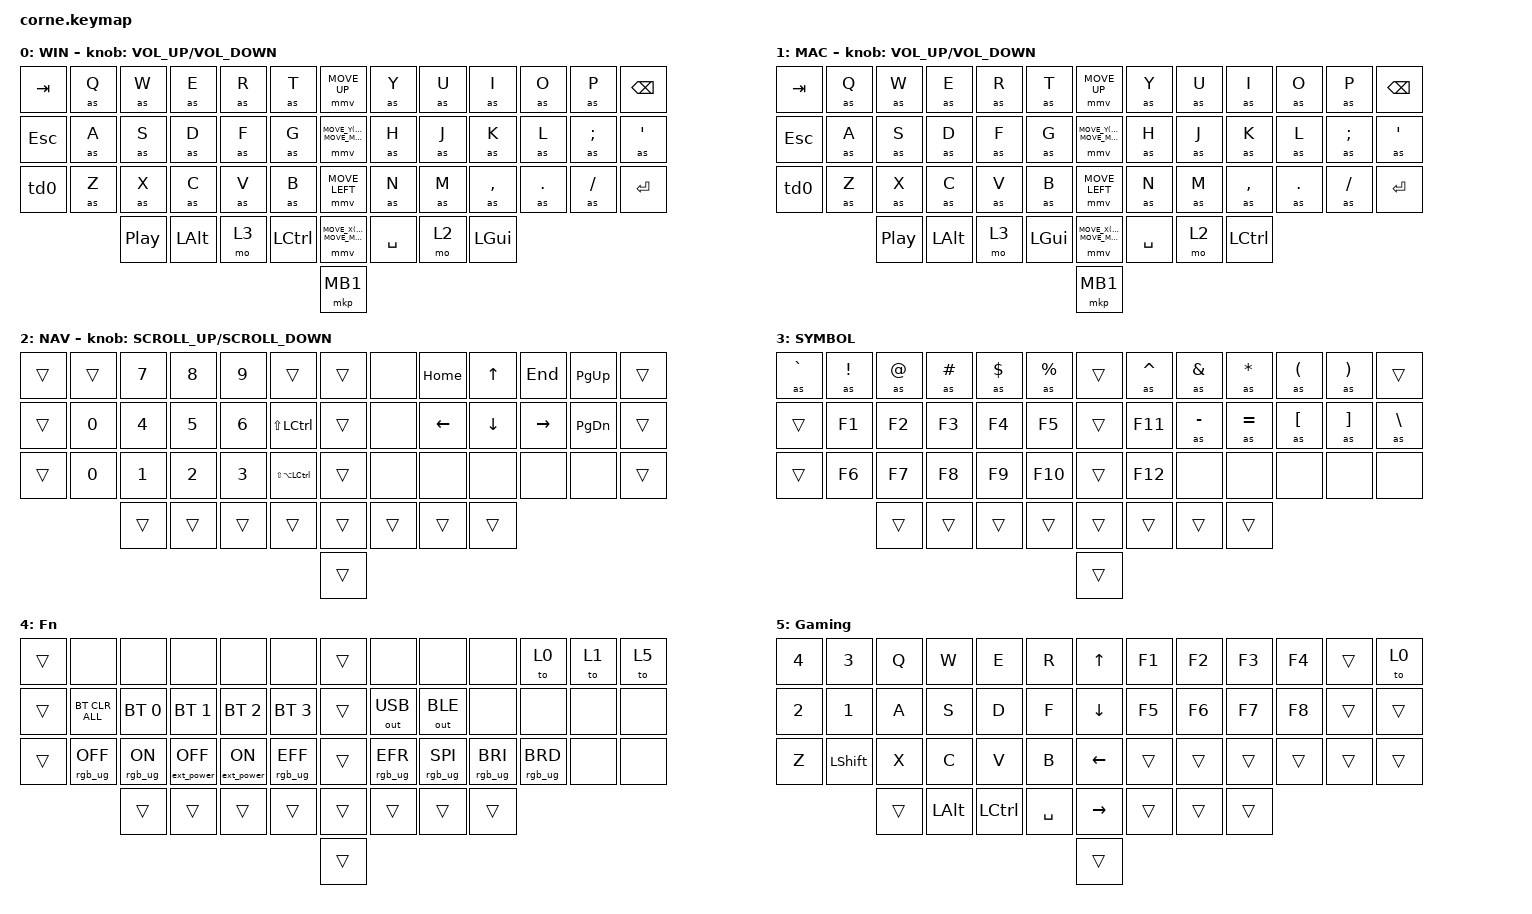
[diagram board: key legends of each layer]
#include <behaviors/mouse_keys.dtsi>
#include <behaviors.dtsi>
#include <dt-bindings/zmk/bt.h>
#include <dt-bindings/zmk/ext_power.h>
#include <dt-bindings/zmk/keys.h>
#include <dt-bindings/zmk/mouse.h>
#include <dt-bindings/zmk/outputs.h>
#include <dt-bindings/zmk/rgb.h>

#define U_MOUSE_MOVE_MAX 1400

#undef MOVE_UP
#undef MOVE_DOWN
#undef MOVE_LEFT
#undef MOVE_RIGHT

#define MOVE_UP MOVE_Y(-U_MOUSE_MOVE_MAX)
#define MOVE_DOWN MOVE_Y(U_MOUSE_MOVE_MAX)
#define MOVE_LEFT MOVE_X(-U_MOUSE_MOVE_MAX)
#define MOVE_RIGHT MOVE_X(U_MOUSE_MOVE_MAX)

&mmv {
    acceleration-exponent = <1>;
    time-to-max-speed-ms = <400>;
};

/ {
    behaviors {
        td0: td0 {
            compatible = "zmk,behavior-tap-dance";
            #binding-cells = <0>;
            bindings = <&kp LEFT_SHIFT>, <&kp CAPS>;
        };

        as_ht: autoshift_hold_tap {
            compatible = "zmk,behavior-hold-tap";
            label = "AUTOSHIFT_HOLD_TAP";
            bindings = <&shift>, <&kp>;

            #binding-cells = <2>;
            tapping-term-ms = <150>;
            flavor = "tap-preferred";
        };
    };

    combos {
        compatible = "zmk,combos";

        delete {
            bindings = <&kp DEL>;
            key-positions = <11 12>;
        };

        Gaming_Esc {
            bindings = <&kp ESC>;
            key-positions = <0 1>;
        };

        Gaming_Tab {
            bindings = <&kp TAB>;
            key-positions = <13 14>;
            layers = <5>;
        };

        Gaming_G {
            bindings = <&kp G>;
            key-positions = <41 42>;
            layers = <5>;
        };
    };

    macros {
        shift: with_lshift {
            compatible = "zmk,behavior-macro-one-param";
            #binding-cells = <1>;
            bindings =
                <&macro_press>,
                <&kp LSHIFT>,
                <&macro_tap>,
                <&macro_param_1to1 &kp MACRO_PLACEHOLDER>,
                <&macro_release>,
                <&kp LEFT_SHIFT>;

            label = "KEY_PRESS_WITH_LEFT_SHIFT_MODIFIER";
        };

        as: as {
            compatible = "zmk,behavior-macro-one-param";
            #binding-cells = <1>;
            bindings =
                <&macro_press>,
                <&macro_param_1to1 &macro_param_1to2 &as_ht MACRO_PLACEHOLDER MACRO_PLACEHOLDER>,
                <&macro_pause_for_release>,
                <&macro_release>,
                <&macro_param_1to1 &macro_param_1to2 &as_ht MACRO_PLACEHOLDER MACRO_PLACEHOLDER>;

            label = "AS";
        };
    };

    keymap {
        compatible = "zmk,keymap";

        WIN {
            display-name = "WIN";

            // --------------------------------------------------------------------------------
            // |  TAB |  Q  |  W  |  E  |  R  |  T  |   |  Y  |  U  |  I  |  O  |  P  | BKSP |
            // | ESC  |  A  |  S  |  D  |  F  |  G  |   |  H  |  J  |  K  |  L  |  ;  |  '   |
            // | TD0  |  Z  |  X  |  C  |  V  |  B  |   |  N  |  M  |  ,  |  .  |  /  | ENT  |
            //                    | C_PLAY_PAUSE | LGUI | MO(2) | LT(3, LCTRL) | LT(4, SPACE) | MO(1) | RALT |
            //                    | MB1 |

            bindings = <
&kp TAB  &as Q  &as W             &as E         &as R  &as T        &mmv MOVE_UP     &as Y      &as U  &as I         &as O    &as P     &kp BSPC
&kp ESC  &as A  &as S             &as D         &as F  &as G        &mmv MOVE_DOWN   &as H      &as J  &as K         &as L    &as SEMI  &as SQT
&td0     &as Z  &as X             &as C         &as V  &as B        &mmv MOVE_LEFT   &as N      &as M  &as COMMA     &as DOT  &as FSLH  &kp ENTER
                &kp C_PLAY_PAUSE  &kp LEFT_ALT  &mo 3  &kp LCTRL    &mmv MOVE_RIGHT  &kp SPACE  &mo 2  &kp LEFT_GUI
                                                                    &mkp MB1
            >;

            sensor-bindings = <&inc_dec_kp C_VOLUME_UP C_VOLUME_DOWN>;
        };

        MAC {
            display-name = "MAC";
            bindings = <
&kp TAB  &as Q  &as W             &as E         &as R  &as T           &mmv MOVE_UP     &as Y      &as U  &as I      &as O    &as P     &kp BSPC
&kp ESC  &as A  &as S             &as D         &as F  &as G           &mmv MOVE_DOWN   &as H      &as J  &as K      &as L    &as SEMI  &as SQT
&td0     &as Z  &as X             &as C         &as V  &as B           &mmv MOVE_LEFT   &as N      &as M  &as COMMA  &as DOT  &as FSLH  &kp ENTER
                &kp C_PLAY_PAUSE  &kp LEFT_ALT  &mo 3  &kp LEFT_GUI    &mmv MOVE_RIGHT  &kp SPACE  &mo 2  &kp LCTRL
                                                                       &mkp MB1
            >;

            sensor-bindings = <&inc_dec_kp C_VOLUME_UP C_VOLUME_DOWN>;
            label = "MAC";
        };

        Navigation {
            display-name = "NAV";

            // -----------------------------------------------------------------------------------------
            // | TRANS | TRANS | KP_7 | KP_8 | KP_9 | TRANS |   | TRANS | NONE | HOME | UP   | END  | K_SCROLL_UP |
            // | TRANS | KP_0  | KP_4 | KP_5 | KP_6 | LS(C) |   | TRANS | NONE | LEFT | DOWN | RGHT | K_SCROLL_DN |
            // | TRANS | KP_0  | KP_1 | KP_2 | KP_3 | LS(LC) |   | TRANS | NONE | NONE | NONE | NONE | NONE        |
            //                    | TRANS | TRANS | MO(3) | TRANS | TRANS | TRANS | TRANS |

            bindings = <
&trans  &trans  &kp N7  &kp N8  &kp N9  &trans               &trans  &none   &kp HOME        &kp UP_ARROW    &kp END    &kp PAGE_UP    &trans
&trans  &kp N0  &kp N4  &kp N5  &kp N6  &kp LS(LCTRL)        &trans  &none   &kp LEFT_ARROW  &kp DOWN_ARROW  &kp RIGHT  &kp PAGE_DOWN  &trans
&trans  &kp N0  &kp N1  &kp N2  &kp N3  &kp LS(LA(LCTRL))    &trans  &none   &none           &none           &none      &none          &trans
                &trans  &trans  &trans  &trans               &trans  &trans  &trans          &trans
                                                             &trans
            >;

            sensor-bindings = <&inc_dec_kp K_SCROLL_UP K_SCROLL_DOWN>;
        };

        Symbol {
            display-name = "SYMBOL";

            // -----------------------------------------------------------------------------------------
            // | TRANS | EXCL | AT   | HASH | DLLR | PRCNT |   | CARET | AMPS | ASTRK | LPAR | RPAR | BSPC |
            // | TRANS | NONE | NONE | NONE | NONE | NONE |   | MINUS | EQUAL | LBKT | RBKT | BSLH | GRAVE |
            // | TRANS | OUT_USB | OUT_BLE | NONE | NONE | NONE |   | UNDER | PLUS | LBRC | RBRC | PIPE | TILDE |
            //                    | TRANS | TRANS | TRANS | TRANS | TRANS | TRANS | MO(3) | TRANS |

            bindings = <
&as GRAVE  &as EXCL  &as AT  &as HASH  &as DLLR  &as PRCNT    &trans  &as CARET  &as AMPS   &as ASTRK  &as LPAR          &as RPAR           &trans
&trans     &kp F1    &kp F2  &kp F3    &kp F4    &kp F5       &trans  &kp F11    &as MINUS  &as EQUAL  &as LEFT_BRACKET  &as RIGHT_BRACKET  &as BACKSLASH
&trans     &kp F6    &kp F7  &kp F8    &kp F9    &kp F10      &trans  &kp F12    &none      &none      &none             &none              &none
                     &trans  &trans    &trans    &trans       &trans  &trans     &trans     &trans
                                                              &trans
            >;
        };

        Function {
            display-name = "Fn";

            // -----------------------------------------------------------------------------------------
            // | TRANS | N1   | N2   | N3   | N4   | N5   |   | N6   | N7   | N8   | N9   | N0   | BSPC |
            // | TRANS | BT_CLR_ALL | BT_SEL 0 | BT_SEL 1 | BT_SEL 2 | BT_SEL 3 |   | LEFT | DOWN | UP   | RIGHT | HOME | PG_UP |
            // | TRANS | RGB_OFF | RGB_ON | EP_OFF | EP_ON | RGB_EFF |   | RGB_EFR | RGB_SPI | RGB_BRI | RGB_BRD | END  | PG_DN |
            //                    | TRANS | TRANS | TRANS | TRANS | TRANS | TRANS | TRANS | TRANS |

            bindings = <
&trans  &none            &none           &none              &none             &none              &trans  &none            &none            &none            &to 0            &to 1  &to 5
&trans  &bt BT_CLR_ALL   &bt BT_SEL 0    &bt BT_SEL 1       &bt BT_SEL 2      &bt BT_SEL 3       &trans  &out OUT_USB     &out OUT_BLE     &none            &none            &none  &none
&trans  &rgb_ug RGB_OFF  &rgb_ug RGB_ON  &ext_power EP_OFF  &ext_power EP_ON  &rgb_ug RGB_EFF    &trans  &rgb_ug RGB_EFR  &rgb_ug RGB_SPI  &rgb_ug RGB_BRI  &rgb_ug RGB_BRD  &none  &none
                         &trans          &trans             &trans            &trans             &trans  &trans           &trans           &trans
                                                                                                 &trans
            >;
        };

        Gaming {
            bindings = <
&kp N4  &kp NUMBER_3    &kp Q   &kp W         &kp E      &kp R        &kp UP_ARROW     &kp F1  &kp F2  &kp F3  &kp F4  &trans  &to 0
&kp N2  &kp N1          &kp A   &kp S         &kp D      &kp F        &kp DOWN_ARROW   &kp F5  &kp F6  &kp F7  &kp F8  &trans  &trans
&kp Z   &kp LEFT_SHIFT  &kp X   &kp C         &kp V      &kp B        &kp LEFT_ARROW   &trans  &trans  &trans  &trans  &trans  &trans
                        &trans  &kp LEFT_ALT  &kp LCTRL  &kp SPACE    &kp RIGHT_ARROW  &trans  &trans  &trans
                                                                      &trans
            >;

            label = "Gaming";
        };
    };

    conditional_layers {
        compatible = "zmk,conditional-layers";

        fn {
            if-layers = <2 3>;
            then-layer = <4>;
        };
    };
};
